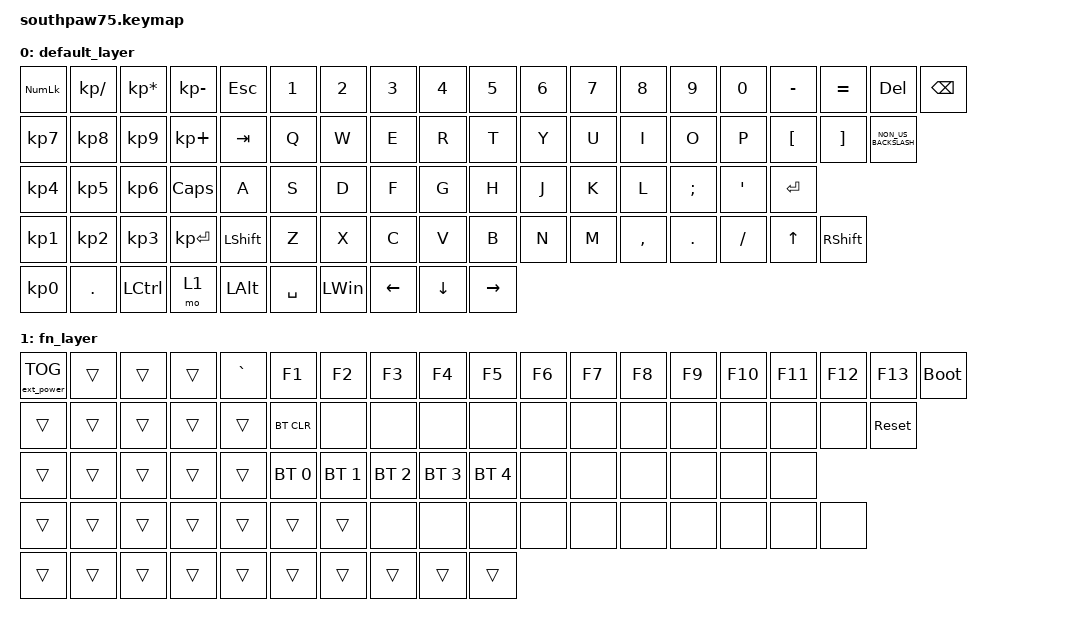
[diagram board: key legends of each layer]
/*
 * Copyright (c) 2020 The ZMK Contributors
 *
 * SPDX-License-Identifier: MIT
 */

#include <behaviors.dtsi>
#include <dt-bindings/zmk/bt.h>
#include <dt-bindings/zmk/ext_power.h>
#include <dt-bindings/zmk/keys.h>

/ {
    keymap {
        compatible = "zmk,keymap";

        default_layer {
            // ------------------------------------------------------------------------------------------------------------------
            // | NUM |  /  |  *  |  -  | ESC |  1  |  2  |  3  |  4  |  5  |  6  |  7  |  8  |  9  |  0  |  -  |  =  | DEL | BKSP |
            // |  7  |  8  |  9  |  +  | TAB  |  Q  |  W  |  E  |  R  |  T  |  Y  |  U  |  I  |  O  |  P  |  [  |  ]  |    \    |
            // |  4  |  5  |  6  |     | CAPS  |  A  |  S  |  D  |  F  |  G  |  H  |  J  |  K  |  L  |  ;  |  '  |     ENTER    |
            // |  1  |  2  |  3  | ENT |  SHIFT  |  Z  |  X  |  C  |  V  |  B  |  N  |  M  |  ,  |  .  |  /  |  SHIFT   | MO(2) |
            // |     0     |  .  |     |  CTL  |  WIN  |  ALT  |             SPACE              |  ALT  | MO(1) |  WIN  | CTRL  |
            // ------------------------------------------------------------------------------------------------------------------

            bindings = <
&kp KP_NLCK      &kp KP_DIVIDE    &kp KP_MULTIPLY   &kp KP_MINUS  &kp ESC       &kp N1     &kp N2        &kp N3          &kp N4          &kp N5           &kp N6  &kp N7  &kp N8     &kp N9      &kp N0     &kp MINUS  &kp EQUAL  &kp DEL               &kp BSPC
&kp KP_NUMBER_7  &kp KP_NUMBER_8  &kp KP_NUMBER_9   &kp KP_PLUS   &kp TAB       &kp Q      &kp W         &kp E           &kp R           &kp T            &kp Y   &kp U   &kp I      &kp O       &kp P      &kp LBKT   &kp RBKT   &kp NON_US_BACKSLASH
&kp KP_NUMBER_4  &kp KP_NUMBER_5  &kp KP_NUMBER_6   &kp CLCK      &kp A         &kp S      &kp D         &kp F           &kp G           &kp H            &kp J   &kp K   &kp L      &kp SEMI    &kp SQT    &kp ENTER
&kp KP_NUMBER_1  &kp KP_NUMBER_2  &kp KP_NUMBER_3   &kp KP_ENTER  &kp LSHFT     &kp Z      &kp X         &kp C           &kp V           &kp B            &kp N   &kp M   &kp COMMA  &kp PERIOD  &kp SLASH  &kp UP     &kp RSHFT
&kp KP_NUMBER_0  &kp PERIOD       &kp LEFT_CONTROL  &mo 1         &kp LEFT_ALT  &kp SPACE  &kp LEFT_WIN  &kp LEFT_ARROW  &kp DOWN_ARROW  &kp RIGHT_ARROW
            >;
        };

        fn_layer {
            bindings = <
&ext_power EP_TOG  &trans  &trans  &trans  &kp GRAVE  &kp F1        &kp F2        &kp F3        &kp F4        &kp F5        &kp F6  &kp F7  &kp F8  &kp F9  &kp F10  &kp F11  &kp F12  &kp F13     &bootloader
&trans             &trans  &trans  &trans  &trans     &bt BT_CLR    &none         &none         &none         &none         &none   &none   &none   &none   &none    &none    &none    &sys_reset
&trans             &trans  &trans  &trans  &trans     &bt BT_SEL 0  &bt BT_SEL 1  &bt BT_SEL 2  &bt BT_SEL 3  &bt BT_SEL 4  &none   &none   &none   &none   &none    &none
&trans             &trans  &trans  &trans  &trans     &trans        &trans        &none         &none         &none         &none   &none   &none   &none   &none    &none    &none
&trans             &trans  &trans  &trans  &trans     &trans        &trans        &trans        &trans        &trans
            >;
        };
    };
};
